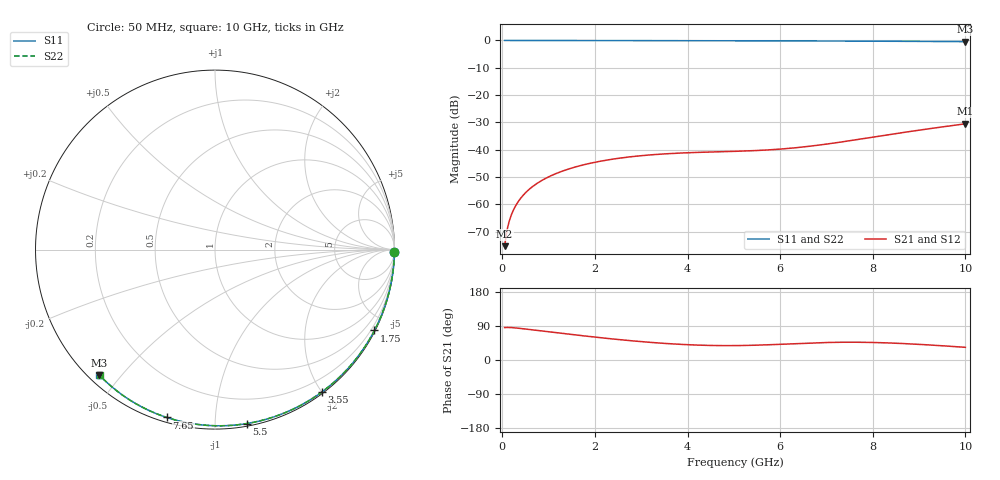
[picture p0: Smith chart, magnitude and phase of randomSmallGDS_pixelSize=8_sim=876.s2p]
! freq	dB(S11)	phase(S11)	dB(S12)	phase(S12)
!  dB(S21)	phase(S21)	dB(S22)	phase(S22)
!S-par simulation data
#  GHz  S  DB  R 50
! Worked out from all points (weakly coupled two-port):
!   200 points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, 50 MHz to 10 GHz, reference 50 ohm
!   highest |S21| = -30.52 dB at 10 GHz (marker M1); lowest = -75.3 dB at 50 MHz (marker M2)
!   lowest |S11| = -0.4 dB at 10 GHz (marker M3), VSWR 39.49, Z = 1.51 - j21.9 ohm
!   |S11| at or under -10 dB: nowhere
!   |S22| runs from -0.4 to 0.0 dB; largest |S21 - S12| = 0
!   S11 on the Smith chart (normalised r, x): 50 MHz: open; 1.75 GHz: 0.04, -4.18; 3.55 GHz: 0.02, -2.00; 5.5 GHz: 0.02, -1.20; 7.65 GHz: 0.02, -0.75; 10 GHz: 0.03, -0.44
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0.05  -0.00 -0.8  -75.31 85.5  -75.31 85.5  -0.00 -0.8
0.1  -0.00 -1.6  -69.57 85.9  -69.57 85.9  -0.00 -1.6
0.15  -0.00 -2.3  -66.12 85.8  -66.12 85.8  -0.00 -2.3
0.2  -0.00 -3.1  -63.66 85.5  -63.66 85.5  -0.00 -3.1
0.25  -0.00 -3.9  -61.74 85.0  -61.74 85.0  -0.00 -3.9
0.35  -0.00 -5.5  -58.84 83.8  -58.84 83.8  -0.00 -5.4
0.5  -0.01 -7.8  -55.78 81.8  -55.78 81.8  -0.01 -7.8
0.7  -0.01 -10.9  -52.91 78.9  -52.91 78.9  -0.01 -10.8
1  -0.02 -15.5  -49.94 74.5  -49.94 74.5  -0.02 -15.4
1.35  -0.03 -20.8  -47.52 69.4  -47.52 69.4  -0.03 -20.8
1.75  -0.03 -26.9  -45.55 63.8  -45.55 63.8  -0.03 -26.8
2.5  -0.05 -38.1  -43.16 54.1  -43.16 54.1  -0.05 -37.9
3.4  -0.07 -51.1  -41.64 44.7  -41.64 44.7  -0.07 -50.9
3.55  -0.07 -53.2  -41.48 43.4  -41.48 43.4  -0.07 -53.0
4.3  -0.09 -63.6  -40.93 39.0  -40.93 39.0  -0.09 -63.4
5.05  -0.11 -73.7  -40.57 38.0  -40.57 38.0  -0.11 -73.5
5.5  -0.13 -79.6  -40.28 39.1  -40.28 39.1  -0.13 -79.4
6.15  -0.15 -87.8  -39.57 42.3  -39.57 42.3  -0.15 -87.6
6.7  -0.18 -94.6  -38.60 45.0  -38.60 45.0  -0.18 -94.4
7.65  -0.24 -106.0  -36.32 46.9  -36.32 46.9  -0.24 -105.8
8.35  -0.29 -114.1  -34.49 45.0  -34.49 45.0  -0.29 -114.0
10  -0.44 -132.7  -30.52 33.4  -30.52 33.4  -0.44 -132.6
